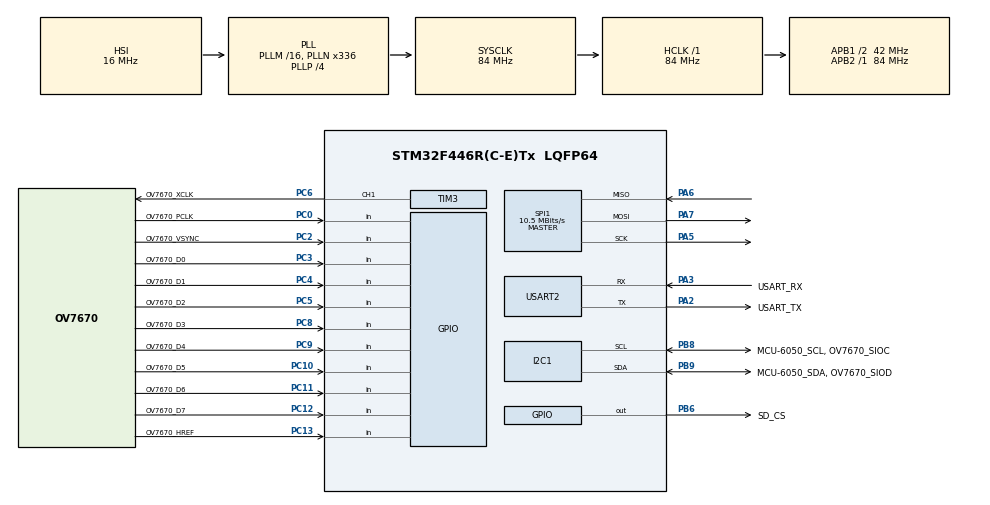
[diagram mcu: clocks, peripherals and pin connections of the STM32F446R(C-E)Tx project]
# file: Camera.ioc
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FATFS._MAX_SS=4096
FATFS._USE_LFN=1
I2C1.I2C_Mode=I2C_Fast
Mcu.Family=STM32F4
Mcu.Name=STM32F446R(C-E)Tx
Mcu.Package=LQFP64
NVIC.PriorityGroup=NVIC_PRIORITYGROUP_0
PA13.GPIO_Label=TMS
PA13.Mode=Serial_Wire
PA13.Signal=SYS_JTMS-SWDIO
PA14.GPIO_Label=TCK
PA14.Mode=Serial_Wire
PA14.Signal=SYS_JTCK-SWCLK
PA2.GPIO_Label=USART_TX
PA2.Mode=Asynchronous
PA2.Signal=USART2_TX
PA3.GPIO_Label=USART_RX
PA3.Mode=Asynchronous
PA3.Signal=USART2_RX
PA5.Mode=Full_Duplex_Master
PA5.Signal=SPI1_SCK
PA6.Mode=Full_Duplex_Master
PA6.Signal=SPI1_MISO
PA7.Mode=Full_Duplex_Master
PA7.Signal=SPI1_MOSI
PB3.GPIO_Label=SWO
PB3.Signal=SYS_JTDO-SWO
PB6.GPIO_Label=SD_CS
PB6.GPIO_Speed=GPIO_SPEED_FREQ_MEDIUM
PB6.PinState=GPIO_PIN_SET
PB6.Signal=GPIO_Output
PB8.GPIO_Label=MCU-6050_SCL, OV7670_SIOC
PB8.GPIO_Speed=GPIO_SPEED_FREQ_MEDIUM
PB8.Mode=I2C
PB8.Signal=I2C1_SCL
PB9.GPIO_Label=MCU-6050_SDA, OV7670_SIOD
PB9.GPIO_Speed=GPIO_SPEED_FREQ_MEDIUM
PB9.Mode=I2C
PB9.Signal=I2C1_SDA
PC0.GPIO_Label=OV7670_PCLK
PC0.Signal=GPIO_Input
PC10.GPIO_Label=OV7670_D5
PC10.Signal=GPIO_Input
PC11.GPIO_Label=OV7670_D6
PC11.Signal=GPIO_Input
PC12.GPIO_Label=OV7670_D7
PC12.Signal=GPIO_Input
PC13.GPIO_Label=OV7670_HREF
PC13.Signal=GPIO_Input
PC14-OSC32_IN.Mode=LSE-External-Oscillator
PC14-OSC32_IN.Signal=RCC_OSC32_IN
PC15-OSC32_OUT.Mode=LSE-External-Oscillator
PC15-OSC32_OUT.Signal=RCC_OSC32_OUT
PC2.GPIO_Label=OV7670_VSYNC
PC2.Signal=GPIO_Input
PC3.GPIO_Label=OV7670_D0
PC3.Signal=GPIO_Input
PC4.GPIO_Label=OV7670_D1
PC4.Signal=GPIO_Input
PC5.GPIO_Label=OV7670_D2
PC5.Signal=GPIO_Input
PC6.GPIO_Label=OV7670_XCLK
PC6.GPIO_PuPd=GPIO_PULLUP
PC6.GPIO_Speed=GPIO_SPEED_FREQ_VERY_HIGH
PC6.Signal=S_TIM3_CH1
PC8.GPIO_Label=OV7670_D3
PC8.Signal=GPIO_Input
PC9.GPIO_Label=OV7670_D4
PC9.Signal=GPIO_Input
PH0-OSC_IN.Mode=HSE-External-Oscillator
PH0-OSC_IN.Signal=RCC_OSC_IN
PH1-OSC_OUT.Mode=HSE-External-Oscillator
PH1-OSC_OUT.Signal=RCC_OSC_OUT
ProjectManager.HeapSize=0x200
ProjectManager.StackSize=0x400
ProjectManager.TargetToolchain=STM32CubeIDE
RCC.48MHZClocksFreq_Value=84000000
RCC.AHBFreq_Value=84000000
RCC.APB1CLKDivider=RCC_HCLK_DIV2
RCC.APB1Freq_Value=42000000
RCC.APB1TimFreq_Value=84000000
RCC.APB2Freq_Value=84000000
RCC.APB2TimFreq_Value=84000000
RCC.CortexFreq_Value=84000000
RCC.FLatency-AdvancedSettings=FLASH_LATENCY_2
RCC.HCLKFreq_Value=84000000
RCC.HSE_VALUE=8000000
RCC.HSI_VALUE=16000000
RCC.PLLN=336
RCC.PLLP=RCC_PLLP_DIV4
RCC.SYSCLKFreq_VALUE=84000000
RCC.SYSCLKSource=RCC_SYSCLKSOURCE_PLLCLK
RCC.USBFreq_Value=168000000
RCC.VCOOutputFreq_Value=336000000
SH.S_TIM3_CH1.0=TIM3_CH1,PWM Generation1 CH1
SPI1.BaudRatePrescaler=SPI_BAUDRATEPRESCALER_8
SPI1.CalculateBaudRate=10.5 MBits/s
SPI1.Direction=SPI_DIRECTION_2LINES
SPI1.Mode=SPI_MODE_MASTER
SPI1.VirtualType=VM_MASTER
TIM1.AutoReloadPreload=TIM_AUTORELOAD_PRELOAD_ENABLE
TIM1.Period=0xFFFF-1
TIM1.Prescaler=84-1
TIM3.Channel-PWM\ Generation1\ CH1=TIM_CHANNEL_1
TIM3.Period=8-1
USART2.VirtualMode=VM_ASYNC
VP_FATFS_VS_Generic.Mode=User_defined
VP_TIM1_VS_ClockSourceINT.Mode=Internal
VP_TIM3_VS_ClockSourceINT.Mode=Internal
board=NUCLEO-F446RE

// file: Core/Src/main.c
/* USER CODE BEGIN Header */
/**
  ******************************************************************************
  * @file           : main.c
  * @brief          : Main program body
  ******************************************************************************
  * @attention
  *
  * Copyright (c) 2022 STMicroelectronics.
  * All rights reserved.
  *
  * This software is licensed under terms that can be found in the LICENSE file
  * in the root directory of this software component.
  * If no LICENSE file comes with this software, it is provided AS-IS.
  *
  ******************************************************************************
  */
/* USER CODE END Header */
#include "main.h"
#include "fatfs.h"

/* USER CODE BEGIN Includes */
#include <stdio.h>
#include "fonts.h"
#include "tft.h"
#include "user_setting.h"
#include "functions.h"
#include "fatfs_sd.h"
#include <string.h>
// Biblioteca da camera OV7670
#include "Camera_OV7670.h"

/* USER CODE END Includes */

/* USER CODE BEGIN PTD */

//#define RGB //Definido em Camera_OV7670.h
//#define W320H240 //Definido em Camera_OV7670.h
#ifdef W320H240
	#define W 320
	#define H 240
#else
	#define W 160
	#define H 120
#endif

/* USER CODE END PTD */

I2C_HandleTypeDef hi2c1;

SPI_HandleTypeDef hspi1;

TIM_HandleTypeDef htim1;
TIM_HandleTypeDef htim3;

UART_HandleTypeDef huart2;

/* USER CODE BEGIN PV */
uint16_t ID = 0;
uint32_t  size= 0;
char codigoID[10];
FATFS fs0, fs1; /* Work area (filesystem object) for logical drives */
FIL fsrc, fdst; /* File objects */
BYTE buffer[4096]; /* File copy buffer */
FRESULT fr; /* FatFs function common result code */
UINT br, bw; /* File read/write count */
/* USER CODE END PV */

void SystemClock_Config(void);
static void MX_GPIO_Init(void);
static void MX_USART2_UART_Init(void);
static void MX_TIM1_Init(void);
static void MX_SPI1_Init(void);
static void MX_I2C1_Init(void);
static void MX_TIM3_Init(void);

int main(void)
{
  /* USER CODE BEGIN 1 */
	// Display TFT
	char rx;
	uint32_t x=160, y=120;

	// Cartão SD
	int32_t size;
	int32_t i;
	char texto[40];
	char nome[40];

  /* USER CODE END 1 */

  /* MCU Configuration--------------------------------------------------------*/

  /* Reset of all peripherals, Initializes the Flash interface and the Systick. */
  HAL_Init();

  /* Configure the system clock */
  SystemClock_Config();

  /* Initialize all configured peripherals */
  MX_GPIO_Init();
  MX_USART2_UART_Init();
  MX_TIM1_Init();
  MX_SPI1_Init();
  MX_FATFS_Init();
  MX_I2C1_Init();
  MX_TIM3_Init();
  /* USER CODE BEGIN 2 */
  //Sequência de inicialização do LCD

  	    tft_gpio_init();                  //Inicializa os GPIOs do LCD (evita uso do CubeMX)

  	    HAL_TIM_Base_Start(&htim1);      //Inicializa o Timer1 (base de tempo de uso do LCD)

  	    ID = tft_readID();               //Lê o ID do LCD (poderia ser chamada pela inicialização do LCD)

  	    HAL_Delay(100);

  	    tft_init (ID);                   //Inicializa o LCD de acordo com seu ID
  	    //reset();
  	   //Inverte as cores do display (efeito negativo)
  	    //\invertDisplay(1);

  	   //HAL_Delay(5000);
  	   setRotation(3);
  	  fillScreen(BLACK);               //Preenche a tela em uma só cor

  	  //Mensagem inicial
  	HAL_UART_Transmit(&huart2, (uint8_t *)"Este programa recebe os pixels de uma camera OV7670 conectada\r\n", 66, 100);
  	HAL_UART_Transmit(&huart2, (uint8_t *)"nos GPIOs e envia para display LCD TFT \r\n", 66, 100);
  	//Plota molduras no LCD
  	for(i=0; i<8; i++)
  	{ //x y w h color
  		drawRect(i*20, i*15, 320-(2*(i*20)), 240-(2*(i*15)), WHITE);
  		HAL_Delay(100);
  	}

  	//Liga o PWM
  	HAL_TIM_PWM_Start(&htim3, TIM_CHANNEL_1);
  	htim3.Instance->CCR1 = 4; //Define o duty_cycle em aprox. 50%
  	//Configura a câmera OV7670
  	setup(&hi2c1, &huart2);

  	//Mensagem de texto
  	//printnewtstr(20, YELLOW, &mono12x7bold, 1, (uint8_t *)"Teste SD Card");

/*
  	//Visualização do ID do LCD TFT
  	   size = sprintf(codigoID, "ID=%x\r\n", ID);
  	   HAL_UART_Transmit(&huart2, codigoID, size, 1000);

  	    //Funções de teste do LCD
  	   //setRotation(0);
  	   //testFillScreen();

  	   //testLines(RED);
  	   //HAL_Delay(5000);

  	   //testFastLines(RED, BLUE);
  	   //HAL_Delay(5000);

  	   //testFilledCircles(20, MAGENTA);

  	    //testCircles(30, WHITE);

  	    //Demonstração de scroll de texto

  	    //printnewtstr(100, GREEN, &mono12x7bold, 1, (uint8_t *)"HELLO ANDRE!");

  	    //scrollup(20);

  	    //Demonstração de inversão de cores do LCD (efeito negativo)

  	    //invertDisplay(1);

  	    //imagens

  	   // extern const unsigned short fosforo_95x63[5985];
  	   //drawRGBBitmap( 113,88, fosforo_95x63, 95, 63);
  	   //HAL_Delay(1000);

  	   //extern const unsigned short Andre_320x240[76800];
  	  // drawRGBBitmap( 0,239, Andre_320x240, 320, 240);
  	  desenha_imagem();
  	  desenha_alvo(160, 120, RED);
  	   // HAL_Delay(20000);
*/
  /* USER CODE END 2 */

  /* Infinite loop */
  while (1)
  {

    /* USER CODE BEGIN 3 */
	  if(W==320)
		  setAddrWindow(0, 0, W, H);
	  else
		  setAddrWindow(80, 60, W+80-1, H+60-1);
	  inicioDados();
	  loop();
	  fimDados();

  }
  /* USER CODE END 3 */
}

void SystemClock_Config(void)
{
  RCC_OscInitTypeDef RCC_OscInitStruct = {0};
  RCC_ClkInitTypeDef RCC_ClkInitStruct = {0};

  /** Configure the main internal regulator output voltage
  */
  __HAL_RCC_PWR_CLK_ENABLE();
  __HAL_PWR_VOLTAGESCALING_CONFIG(PWR_REGULATOR_VOLTAGE_SCALE3);
  /** Initializes the RCC Oscillators according to the specified parameters
  * in the RCC_OscInitTypeDef structure.
  */
  RCC_OscInitStruct.OscillatorType = RCC_OSCILLATORTYPE_HSI;
  RCC_OscInitStruct.HSIState = RCC_HSI_ON;
  RCC_OscInitStruct.HSICalibrationValue = RCC_HSICALIBRATION_DEFAULT;
  RCC_OscInitStruct.PLL.PLLState = RCC_PLL_ON;
  RCC_OscInitStruct.PLL.PLLSource = RCC_PLLSOURCE_HSI;
  RCC_OscInitStruct.PLL.PLLM = 16;
  RCC_OscInitStruct.PLL.PLLN = 336;
  RCC_OscInitStruct.PLL.PLLP = RCC_PLLP_DIV4;
  RCC_OscInitStruct.PLL.PLLQ = 2;
  RCC_OscInitStruct.PLL.PLLR = 2;
  if (HAL_RCC_OscConfig(&RCC_OscInitStruct) != HAL_OK)
  {
    Error_Handler();
  }
  /** Initializes the CPU, AHB and APB buses clocks
  */
  RCC_ClkInitStruct.ClockType = RCC_CLOCKTYPE_HCLK|RCC_CLOCKTYPE_SYSCLK
                              |RCC_CLOCKTYPE_PCLK1|RCC_CLOCKTYPE_PCLK2;
  RCC_ClkInitStruct.SYSCLKSource = RCC_SYSCLKSOURCE_PLLCLK;
  RCC_ClkInitStruct.AHBCLKDivider = RCC_SYSCLK_DIV1;
  RCC_ClkInitStruct.APB1CLKDivider = RCC_HCLK_DIV2;
  RCC_ClkInitStruct.APB2CLKDivider = RCC_HCLK_DIV1;

  if (HAL_RCC_ClockConfig(&RCC_ClkInitStruct, FLASH_LATENCY_2) != HAL_OK)
  {
    Error_Handler();
  }
}

static void MX_I2C1_Init(void)
{

  hi2c1.Instance = I2C1;
  hi2c1.Init.ClockSpeed = 400000;
  hi2c1.Init.DutyCycle = I2C_DUTYCYCLE_2;
  hi2c1.Init.OwnAddress1 = 0;
  hi2c1.Init.AddressingMode = I2C_ADDRESSINGMODE_7BIT;
  hi2c1.Init.DualAddressMode = I2C_DUALADDRESS_DISABLE;
  hi2c1.Init.OwnAddress2 = 0;
  hi2c1.Init.GeneralCallMode = I2C_GENERALCALL_DISABLE;
  hi2c1.Init.NoStretchMode = I2C_NOSTRETCH_DISABLE;
  if (HAL_I2C_Init(&hi2c1) != HAL_OK)
  {
    Error_Handler();
  }

}

static void MX_SPI1_Init(void)
{

  /* SPI1 parameter configuration*/
  hspi1.Instance = SPI1;
  hspi1.Init.Mode = SPI_MODE_MASTER;
  hspi1.Init.Direction = SPI_DIRECTION_2LINES;
  hspi1.Init.DataSize = SPI_DATASIZE_8BIT;
  hspi1.Init.CLKPolarity = SPI_POLARITY_LOW;
  hspi1.Init.CLKPhase = SPI_PHASE_1EDGE;
  hspi1.Init.NSS = SPI_NSS_SOFT;
  hspi1.Init.BaudRatePrescaler = SPI_BAUDRATEPRESCALER_8;
  hspi1.Init.FirstBit = SPI_FIRSTBIT_MSB;
  hspi1.Init.TIMode = SPI_TIMODE_DISABLE;
  hspi1.Init.CRCCalculation = SPI_CRCCALCULATION_DISABLE;
  hspi1.Init.CRCPolynomial = 10;
  if (HAL_SPI_Init(&hspi1) != HAL_OK)
  {
    Error_Handler();
  }

}

static void MX_TIM1_Init(void)
{

  TIM_ClockConfigTypeDef sClockSourceConfig = {0};
  TIM_MasterConfigTypeDef sMasterConfig = {0};

  htim1.Instance = TIM1;
  htim1.Init.Prescaler = 84-1;
  htim1.Init.CounterMode = TIM_COUNTERMODE_UP;
  htim1.Init.Period = 0xFFFF-1;
  htim1.Init.ClockDivision = TIM_CLOCKDIVISION_DIV1;
  htim1.Init.RepetitionCounter = 0;
  htim1.Init.AutoReloadPreload = TIM_AUTORELOAD_PRELOAD_ENABLE;
  if (HAL_TIM_Base_Init(&htim1) != HAL_OK)
  {
    Error_Handler();
  }
  sClockSourceConfig.ClockSource = TIM_CLOCKSOURCE_INTERNAL;
  if (HAL_TIM_ConfigClockSource(&htim1, &sClockSourceConfig) != HAL_OK)
  {
    Error_Handler();
  }
  sMasterConfig.MasterOutputTrigger = TIM_TRGO_RESET;
  sMasterConfig.MasterSlaveMode = TIM_MASTERSLAVEMODE_DISABLE;
  if (HAL_TIMEx_MasterConfigSynchronization(&htim1, &sMasterConfig) != HAL_OK)
  {
    Error_Handler();
  }

}

static void MX_TIM3_Init(void)
{

  TIM_ClockConfigTypeDef sClockSourceConfig = {0};
  TIM_MasterConfigTypeDef sMasterConfig = {0};
  TIM_OC_InitTypeDef sConfigOC = {0};

  htim3.Instance = TIM3;
  htim3.Init.Prescaler = 0;
  htim3.Init.CounterMode = TIM_COUNTERMODE_UP;
  htim3.Init.Period = 8-1;
  htim3.Init.ClockDivision = TIM_CLOCKDIVISION_DIV1;
  htim3.Init.AutoReloadPreload = TIM_AUTORELOAD_PRELOAD_DISABLE;
  if (HAL_TIM_Base_Init(&htim3) != HAL_OK)
  {
    Error_Handler();
  }
  sClockSourceConfig.ClockSource = TIM_CLOCKSOURCE_INTERNAL;
  if (HAL_TIM_ConfigClockSource(&htim3, &sClockSourceConfig) != HAL_OK)
  {
    Error_Handler();
  }
  if (HAL_TIM_PWM_Init(&htim3) != HAL_OK)
  {
    Error_Handler();
  }
  sMasterConfig.MasterOutputTrigger = TIM_TRGO_RESET;
  sMasterConfig.MasterSlaveMode = TIM_MASTERSLAVEMODE_DISABLE;
  if (HAL_TIMEx_MasterConfigSynchronization(&htim3, &sMasterConfig) != HAL_OK)
  {
    Error_Handler();
  }
  sConfigOC.OCMode = TIM_OCMODE_PWM1;
  sConfigOC.Pulse = 0;
  sConfigOC.OCPolarity = TIM_OCPOLARITY_HIGH;
  sConfigOC.OCFastMode = TIM_OCFAST_DISABLE;
  if (HAL_TIM_PWM_ConfigChannel(&htim3, &sConfigOC, TIM_CHANNEL_1) != HAL_OK)
  {
    Error_Handler();
  }
  HAL_TIM_MspPostInit(&htim3);

}

static void MX_USART2_UART_Init(void)
{

  huart2.Instance = USART2;
  huart2.Init.BaudRate = 115200;
  huart2.Init.WordLength = UART_WORDLENGTH_8B;
  huart2.Init.StopBits = UART_STOPBITS_1;
  huart2.Init.Parity = UART_PARITY_NONE;
  huart2.Init.Mode = UART_MODE_TX_RX;
  huart2.Init.HwFlowCtl = UART_HWCONTROL_NONE;
  huart2.Init.OverSampling = UART_OVERSAMPLING_16;
  if (HAL_UART_Init(&huart2) != HAL_OK)
  {
    Error_Handler();
  }

}

static void MX_GPIO_Init(void)
{
  GPIO_InitTypeDef GPIO_InitStruct = {0};

  /* GPIO Ports Clock Enable */
  __HAL_RCC_GPIOC_CLK_ENABLE();
  __HAL_RCC_GPIOH_CLK_ENABLE();
  __HAL_RCC_GPIOA_CLK_ENABLE();
  __HAL_RCC_GPIOB_CLK_ENABLE();

  /*Configure GPIO pin Output Level */
  HAL_GPIO_WritePin(SD_CS_GPIO_Port, SD_CS_Pin, GPIO_PIN_SET);

  /*Configure GPIO pins : OV7670_HREF_Pin OV7670_PCLK_Pin OV7670_VSYNC_Pin OV7670_D0_Pin
                           OV7670_D1_Pin OV7670_D2_Pin OV7670_D3_Pin OV7670_D4_Pin
                           OV7670_D5_Pin OV7670_D6_Pin OV7670_D7_Pin */
  GPIO_InitStruct.Pin = OV7670_HREF_Pin|OV7670_PCLK_Pin|OV7670_VSYNC_Pin|OV7670_D0_Pin
                          |OV7670_D1_Pin|OV7670_D2_Pin|OV7670_D3_Pin|OV7670_D4_Pin
                          |OV7670_D5_Pin|OV7670_D6_Pin|OV7670_D7_Pin;
  GPIO_InitStruct.Mode = GPIO_MODE_INPUT;
  GPIO_InitStruct.Pull = GPIO_NOPULL;
  HAL_GPIO_Init(GPIOC, &GPIO_InitStruct);

  /*Configure GPIO pin : SD_CS_Pin */
  GPIO_InitStruct.Pin = SD_CS_Pin;
  GPIO_InitStruct.Mode = GPIO_MODE_OUTPUT_PP;
  GPIO_InitStruct.Pull = GPIO_NOPULL;
  GPIO_InitStruct.Speed = GPIO_SPEED_FREQ_MEDIUM;
  HAL_GPIO_Init(SD_CS_GPIO_Port, &GPIO_InitStruct);

}

void Error_Handler(void)
{
  __disable_irq();
  while (1)
  {
  }
}
